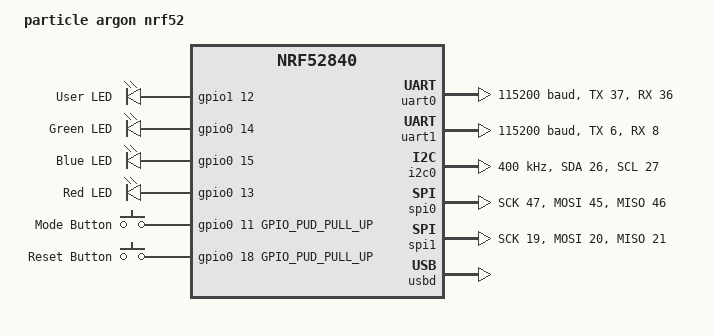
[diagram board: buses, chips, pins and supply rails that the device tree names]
/*
 * Copyright (c) 2018 Matthias Boesl
 *
 * SPDX-License-Identifier: Apache-2.0
 */

/dts-v1/;
#include <nordic/nrf52840_qiaa.dtsi>

/ {
	model = "particle argon nrf52";
	compatible = "particle,particle_argon", "nordic,nrf52840-qiaa",
		     "nordic,nrf52840";

	chosen {
		zephyr,console = &uart0;
		zephyr,shell-uart = &uart0;
		zephyr,uart-mcumgr = &uart0;
		zephyr,sram = &sram0;
		zephyr,flash = &flash0;
	};

	leds {
		compatible = "gpio-leds";
		user_led: led_0 {
			gpios = <&gpio1 12 0>;
			label = "User LED";
		};
		status_green: led_1 {
				gpios = <&gpio0 14 0>;
				label = "Green LED";
		};
		status_blue: led_2 {
				gpios = <&gpio0 15 0>;
				label = "Blue LED";
		};
		status_red: led_3 {
				gpios = <&gpio0 13 0>;
				label = "Red LED";
		};
	};

	gpio_keys {
		compatible = "gpio-keys";
		mode_button: button_0 {
			gpios = <&gpio0 11 GPIO_PUD_PULL_UP>;
			label = "Mode Button";
		};

		reset_button: button_1 {
			gpios = <&gpio0 18 GPIO_PUD_PULL_UP>;
			label = "Reset Button";
		};
	};

	aliases {
		led0 = &user_led;
		led1 = &status_green;
		led2 = &status_blue;
		led3 = &status_red;
		sw0 = &mode_button;
		sw1 = &reset_button;
	};
};

&gpiote {
	status ="ok";
};

&gpio0 {
	status ="ok";
};

&gpio1 {
	status ="ok";
};

&uart0 {
	compatible = "nordic,nrf-uarte";
	current-speed = <115200>;
	status = "ok";
	tx-pin = <37>;
	rx-pin = <36>;
	rts-pin = <39>;
	cts-pin = <38>;
};

&uart1 {
	compatible = "nordic,nrf-uarte";
	current-speed = <115200>;
	status = "ok";
	tx-pin = <6>;
	rx-pin = <8>;
};

&i2c0 {
	status = "ok";
	clock-frequency = <I2C_BITRATE_FAST>;
	sda-pin = <26>;
	scl-pin = <27>;
};

&spi0 {
	status = "ok";
	sck-pin = <47>;
	mosi-pin = <45>;
	miso-pin = <46>;
};

&spi1 {
	status = "ok";
	sck-pin = <19>;
	mosi-pin = <20>;
	miso-pin = <21>;
	cs-gpios = <&gpio0 17 0>;
};

&flash0 {
	partitions {
		compatible = "fixed-partitions";
		#address-cells = <1>;
		#size-cells = <1>;

		boot_partition: partition@0 {
			label = "mcuboot";
			reg = <0x000000000 0x0000C000>;
		};
		slot0_partition: partition@c000 {
			label = "image-0";
			reg = <0x0000C000 0x000069000>;
		};
		slot1_partition: partition@75000 {
			label = "image-1";
			reg = <0x00075000 0x000069000>;
		};
		scratch_partition: partition@de000 {
			label = "image-scratch";
			reg = <0x000de000 0x0001e000>;
		};

		storage_partition: partition@fc000 {
			label = "storage";
			reg = <0x000fc000 0x00004000>;
		};
	};
};

&usbd {
	compatible = "nordic,nrf-usbd";
	status = "ok";
};
